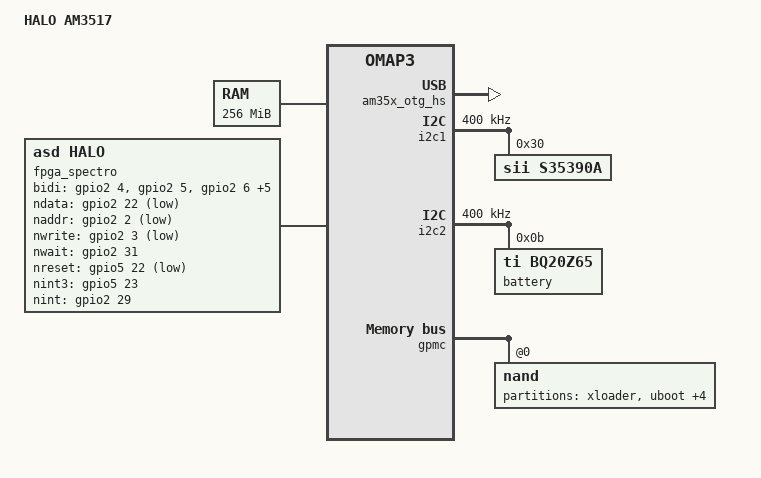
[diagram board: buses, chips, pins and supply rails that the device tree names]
/*
 * Copyright (C) 2011 Texas Instruments Incorporated - http://www.ti.com/
 *
 * This program is free software; you can redistribute it and/or modify
 * it under the terms of the GNU General Public License version 2 as
 * published by the Free Software Foundation.
 */
/dts-v1/;

#include "am3517.dtsi"

/ {
	model = "HALO AM3517";
	compatible = "asd,halo-am3517", "ti,am3517", "ti,omap3";

	memory {
		device_type = "memory";
		reg = <0x80000000 0x10000000>; /* 256 MB */
	};

    fpga_spectro: fpga_spectro {
        compatible = "asd,halo";

        pinctrl-names = "default";
        pinctrl-0 = <&halo_fpga_pins>;

        bidi-gpios = <&gpio2 4 0
                      &gpio2 5 0
                      &gpio2 6 0
                      &gpio2 7 0
                      &gpio2 8 0
                      &gpio2 9 0
                      &gpio2 10 0
                      &gpio2 11 0>;
        ndata-gpios = <&gpio2 22 GPIO_ACTIVE_LOW>;
        naddr-gpios = <&gpio2 2 GPIO_ACTIVE_LOW>;
        nwrite-gpios = <&gpio2 3 GPIO_ACTIVE_LOW>;
        nwait-gpios = <&gpio2 31 0>;
        nreset-gpios = <&gpio5 22 GPIO_ACTIVE_LOW>;
        nint3-gpios = <&gpio5 23 0>;
        nint-gpios = <&gpio2 29 0>;
    };
};

&omap3_pmx_core {
    pinctrl-names = "default";
    pinctrl-0 = <&halo_fpga_pins>;

    otg_drv_vbus: pinmux_otg_drv_vbus {
        pinctrl-single,pins = <
            0x212 (PIN_OUTPUT | MUX_MODE0)  /* usb0_drvvbus.usb0_drvvbus */
        >;
    };

    i2c1_pins: pinmux_i2c1_pins {
        pinctrl-single,pins = <
            0x18a (PIN_INPUT | MUX_MODE0)   /* i2c1_scl.i2c1_scl */
            0x18c (PIN_INPUT | MUX_MODE0)   /* i2c1_sda.i2c1_sda */
        >;
    };

    i2c2_pins: pinmux_i2c2_pins {
        pinctrl-single,pins = <
            0x18e (PIN_INPUT | MUX_MODE0)   /* i2c2_scl.i2c2_scl */
            0x190 (PIN_INPUT | MUX_MODE0)   /* i2c2_sda.i2c2_sda */
        >;
    };

    i2c3_pins: pinmux_i2c3_pins {
        pinctrl-single,pins = <
            0x192 (PIN_INPUT | MUX_MODE0)    /* i2c3_scl.i2c3_scl */
            0x194 (PIN_INPUT | MUX_MODE0)    /* i2c3_sda.i2c3_sda */
        >;
    };

    /* This is the one on the analog board */
    ana_mux_pins: pinmux_ana_mux_pins {
        pinctrl-single,pins = <
            0x112 (PIN_INPUT_PULLUP | MUX_MODE4)    /* mcbsp2_dx.gpio_119 - GPIO_INT3# */
        >;
    };

    /* This is the one on the power board */
    pwr_mux_pins: pinmux_pwr_mux_pins {
        pinctrl-single,pins = <
            0x10e (PIN_INPUT_PULLUP | MUX_MODE4)    /* mcbsp2_clkx.gpio_117 - GPIO_INT1# */
        >;
    };

    halo_fpga_pins: pinmux_halo_fpga_pins {
        pinctrl-single,pins = <
            0x114 (PIN_INPUT | MUX_MODE4)           /* mmc1_clk.gpio_120 - BiDi[0] */
            0x116 (PIN_INPUT | MUX_MODE4)           /* mmc1_cmd.gpio_121 - BiDi[1] */
            0x118 (PIN_INPUT | MUX_MODE4)           /* mmc1_dat0.gpio_122 - BiDi[2] */
            0x11a (PIN_INPUT | MUX_MODE4)           /* mmc1_dat1.gpio_123 - BiDi[3] */
            0x11c (PIN_INPUT | MUX_MODE4)           /* mmc1_dat2.gpio_124 - BiDi[4] */
            0x11e (PIN_INPUT | MUX_MODE4)           /* mmc1_dat3.gpio_125 - BiDi[5]  */
            0x120 (PIN_INPUT | MUX_MODE4)           /* mmc1_dat4.gpio_126 - BiDi[6]  */
            0x122 (PIN_INPUT | MUX_MODE4)           /* mmc1_dat5.gpio_127 - BiDi[7]  */

            0x1ca (PIN_OUTPUT_PULLUP | MUX_MODE4)   /* ccdc_data6.gpio_105 - nWRITE_STROBE */
            0x1cc (PIN_OUTPUT_PULLUP | MUX_MODE4)   /* ccdc_data7.gpio_106 - nADDR_STROBE */
            0x1b8 (PIN_OUTPUT_PULLUP | MUX_MODE4)   /* ccdc_hd.gpio_96 - nDATA_STROBE */
            0x1c0 (PIN_INPUT | MUX_MODE4)           /* ccdc_data1.gpio_100 - nWAIT */
            0x110 (PIN_OUTPUT_PULLUP | MUX_MODE4)   /* mcbsp2_dr.gpio_118 - nFGPA_RESET */
            0x112 (PIN_INPUT_PULLUP | MUX_MODE4)    /* mcbsp2_dx.gpio_119 - nGPIO_INT3 */
            0x126 (PIN_INPUT | MUX_MODE4)           /* mmc1_dat7.gpio_129 - INTERRUPT */
        >;
    };
};

&am35x_otg_hs {
    status = "okay";
    pinctrl-names = "default";
    pinctrl-0 = <&otg_drv_vbus>;
    clocks = <&hsotgusb_ick_am35xx>, <&hsotgusb_fck_am35xx>;
    clock-names = "hsotgusb_ick", "hsotgusb_fck";
    compatible = "ti,am35x-musb";
};

&usbhshost {
    /* Will be initialized in pdata-quirks */
    status = "disabled";
};

&usbhstll {
    status = "disabled";
};

/*&aes {
    status = "disabled";
};*/

/*&sham {
    status = "disabled";
};*/

/*&smartreflex_core {
    status = "disabled";
};*/

&usb_otg_hs {
    status = "disabled";
};

&davinci_emac {
	status = "disabled";
};

&davinci_mdio {
	status = "disabled";
};

&i2c1 {
	clock-frequency = <400000>;

    pinctrl-names = "default";
    pinctrl-0 = <&i2c1_pins>;

    status = "okay";

    s35390a: s35390a@30 {
         compatible = "sii,s35390a";
         reg = <0x30>;
    };
};

&i2c2 {
	clock-frequency = <400000>;

    pinctrl-names = "default";
    pinctrl-0 = <&i2c2_pins>;

    status = "okay";

    battery: smart-battery@b {
        compatible = "ti,bq20z65", "sbs,sbs-battery";
        reg = <0xb>;
        battery-name = "battery";
        sbs,poll-retry-count = <2>;
        sbs,i2c-retry-count = <100>;
    };
};

&i2c3 {
    /* Will be initialized in pdata-quirks */
    status = "disabled";
};

&mmc1 {
	status = "disabled";
};

&mmc2 {
    status = "disabled";
};

&mmc3 {
    status = "disabled";
};

&gpmc {
    ranges = <0 0 0x00000000 0x20000000>;

    nand@0,0 {
        linux,mtd-name= "micron,nand";
        reg = <0 0 4>;  /* CS0, offset 0, IO size 4 */
        nand-bus-width = <16>;
        gpmc,device-width = <2>;
        ti,nand-ecc-opt = "sw";

        gpmc,cs-on-ns = <0>;
        gpmc,cs-rd-off-ns = <36>;
        gpmc,cs-wr-off-ns = <36>;

        gpmc,adv-on-ns = <6>;
        gpmc,adv-rd-off-ns = <24>;
        gpmc,adv-wr-off-ns = <36>;

        gpmc,we-on-ns = <6>;
        gpmc,we-off-ns = <30>;

        gpmc,oe-on-ns = <6>;
        gpmc,oe-off-ns = <48>;

        gpmc,page-burst-access-ns = <6>;
        gpmc,access-ns = <54>;
        gpmc,cycle2cycle-delay-ns = <60>;

        gpmc,rd-cycle-ns = <72>;
        gpmc,wr-cycle-ns = <72>;
        gpmc,wr-access-ns = <30>;
        gpmc,wr-data-mux-bus-ns = <0>;

        #address-cells = <1>;
        #size-cells = <1>;

        partition@0 {
            label = "xloader";
            reg = <0 0x80000>;
        };
        partition@0x80000 {
            label = "uboot";
            reg = <0x80000 0x1e0000>;
        };
        partition@0x260000 {
            label = "uboot environment";
            reg = <0x260000 0x40000>;
        };
        partition@0x2a0000 {
            label = "linux";
            reg = <0x2a0000 0x800000>;
        };
        partition@0xaa0000 {
            label = "oftree";
            reg = <0xaa0000 0x80000>;
        };
        partition@0xb20000 {
            label = "rootfs";
            reg = <0xb20000 0x1f4e0000>;
        };
    };

};
